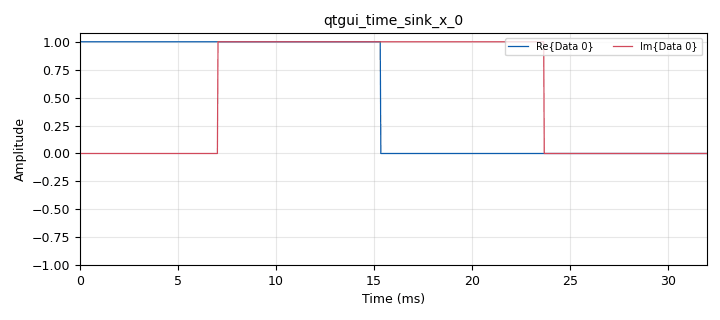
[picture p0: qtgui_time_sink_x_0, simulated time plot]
options:
  parameters:
    generate_options: qt_gui
    id: chooser_test
    output_language: python
    title: Not titled yet
  states: {}

blocks:
- name: samp_rate
  id: variable
  parameters:
    value: '32000'
  states: {}
- name: variable_qtgui_chooser_0
  id: variable_qtgui_chooser
  parameters:
    label: label
    label0: Square
    label1: Cosine
    num_opts: '2'
    option0: '103'
    option1: '101'
    type: int
    value: '103'
    widget: radio_buttons
  states: {}
- name: variable_qtgui_push_button_0
  id: variable_qtgui_push_button
  parameters:
    label: Hola
    pressed: '1'
    released: '0'
    type: int
    value: '1'
  states: {}
- name: analog_sig_source_x_0
  id: analog_sig_source_x
  parameters:
    amp: 1*variable_qtgui_push_button_0
    freq: '30'
    offset: '0'
    phase: '0'
    samp_rate: samp_rate
    type: complex
    waveform: variable_qtgui_chooser_0
  states: {}
- name: blocks_throttle_0
  id: blocks_throttle
  parameters:
    samples_per_second: samp_rate
    type: complex
  states: {}
- name: qtgui_eye_sink_x_0
  id: qtgui_eye_sink_x
  parameters:
    samp_per_symbol: '8'
    size: '1024'
    srate: samp_rate
    type: complex
  states: {state: disabled}
- name: qtgui_time_sink_x_0
  id: qtgui_time_sink_x
  parameters:
    size: '1024'
    srate: samp_rate
    type: complex
  states: {}

connections:
- [analog_sig_source_x_0, '0', blocks_throttle_0, '0']
- [blocks_throttle_0, '0', qtgui_eye_sink_x_0, '0']
- [blocks_throttle_0, '0', qtgui_time_sink_x_0, '0']

metadata:
  file_format: 1
  grc_version: 3.10.4.0
